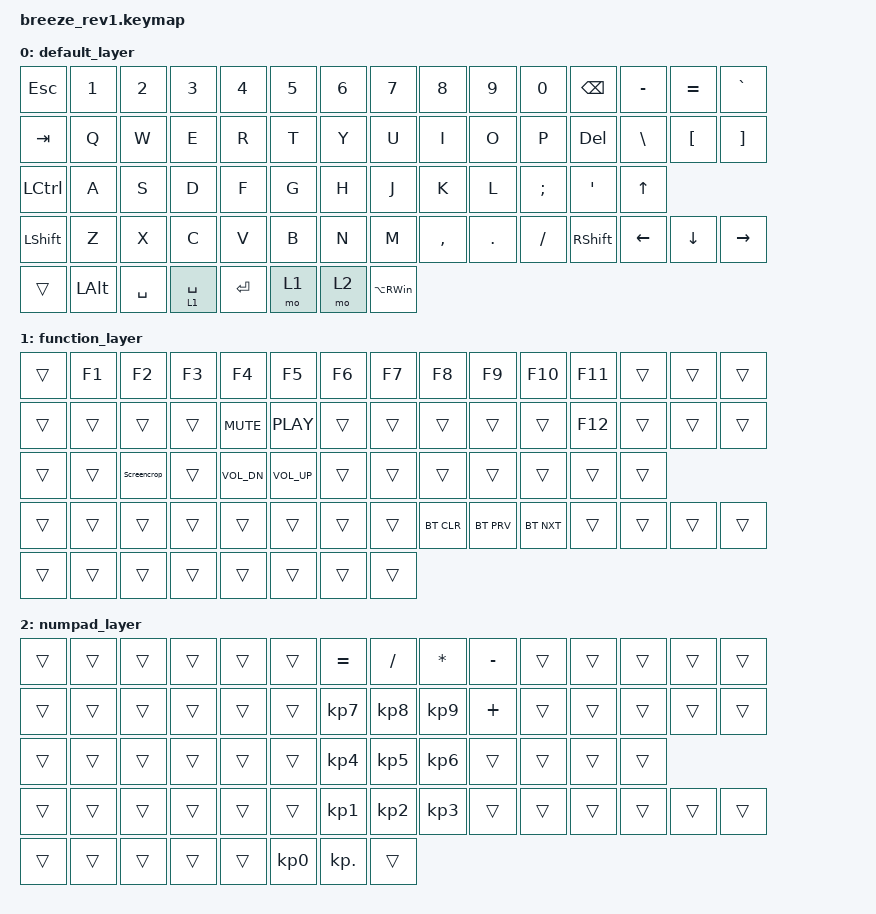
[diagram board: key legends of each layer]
/*
 * Copyright (c) 2022 The ZMK Contributors
 *
 * SPDX-License-Identifier: MIT
 */

#include <behaviors.dtsi>
#include <dt-bindings/zmk/bt.h>
#include <dt-bindings/zmk/keys.h>

/ {
    macros {
        Shadowplay: Shadowplay {
            compatible = "zmk,behavior-macro";
            #binding-cells = <0>;
            bindings = <&kp LEFT_ALT &kp F10>;
            label = "SHADOWPLAY";
        };

        Screencrop: Screencrop {
            compatible = "zmk,behavior-macro";
            #binding-cells = <0>;
            bindings = <&kp LEFT_GUI &kp LEFT_SHIFT &kp S>;
            label = "SCREENCROP";
        };
    };

    keymap {
        compatible = "zmk,keymap";

        default_layer {
            // Ref: https://zmkfirmware.dev/docs/codes/
            // ---  MAIN  -----------------------------------------------------------------------------------------------------------------------
            // |    ESC    |     1     |     2     |     3      |      4      |      5     |                           |      6      |      7     |      8      |      9     |     0    |    BSPC    | |    -/_    |     =/+     |    GRAVE    |
            // |    TAB    |     Q     |     W     |     E      |      R      |      T     |                           |      Y      |      U     |      I      |      O     |     P    |    DEL     | |     \     |      [      |      ]      |
            // |   LCTRL   |     A     |     S     |     D      |      F      |      G     |                           |      H      |      J     |      K      |      L     |     ;    |     '      | |           |      UP     |             |
            // |   SHIFT   |     Z     |     X     |     C      |      V      |      B     |                           |      N      |      M     |      ,      |      .     |     /    |   RSHIFT   | |     L     |      DN     |      R      |
            //                                     |   NUMPAD   |     LALT    |    LCMD    |   SPACE    |  |   ENTER   |   FUNCTION  |  MACOS APP |  MACOS LANG |

            bindings = <
&kp ESC    &kp N1    &kp N2     &kp N3       &kp N4   &kp N5  &kp N6  &kp N7             &kp N8     &kp N9   &kp N0    &kp BSPC    &kp MINUS  &kp EQUAL  &kp GRAVE
&kp TAB    &kp Q     &kp W      &kp E        &kp R    &kp T   &kp Y   &kp U              &kp I      &kp O    &kp P     &kp DEL     &kp BSLH   &kp LBKT   &kp RBKT
&kp LCTRL  &kp A     &kp S      &kp D        &kp F    &kp G   &kp H   &kp J              &kp K      &kp L    &kp SEMI  &kp APOS    &kp UP
&kp LSHFT  &kp Z     &kp X      &kp C        &kp V    &kp B   &kp N   &kp M              &kp COMMA  &kp DOT  &kp FSLH  &kp RSHIFT  &kp LEFT   &kp DOWN   &kp RIGHT
&trans     &kp LALT  &kp SPACE  &lt 1 SPACE  &kp RET  &mo 1   &mo 2   &kp LA(RIGHT_WIN)
            >;
        };

        function_layer {
            // ---  FUNCTION  -------------------------------------------------------------------------------------------------------------------
            // | BT Clear  |  BT Prev  |  BT Next  |            |             |            |                           |             |            |             |            |          |            | |           |             |             |
            // |           |           |           |            |             |            |                           |             |            |     UP      |            |          |            | |           |             |             |
            // |           |           |           |            |             |            |                           |             |    LEFT    |    DOWN     |   RIGHT    |          |            | |           |             |             |
            // |           |           |           |            |             |            |                           |             |    MUTE    |  VOL DOWN   |   VOL UP   |          |            | |           |             |             |
            //                                     |            |             |            |            |  |           |             |            |             |

            bindings = <
&trans  &kp F1  &kp F2       &kp F3  &kp F4        &kp F5        &kp F6  &kp F7  &kp F8      &kp F9      &kp F10     &kp F11  &trans  &trans  &trans
&trans  &trans  &trans       &trans  &kp C_MUTE    &kp C_PLAY    &trans  &trans  &trans      &trans      &trans      &kp F12  &trans  &trans  &trans
&trans  &trans  &Screencrop  &trans  &kp C_VOL_DN  &kp C_VOL_UP  &trans  &trans  &trans      &trans      &trans      &trans   &trans
&trans  &trans  &trans       &trans  &trans        &trans        &trans  &trans  &bt BT_CLR  &bt BT_PRV  &bt BT_NXT  &trans   &trans  &trans  &trans
&trans  &trans  &trans       &trans  &trans        &trans        &trans  &trans
            >;
        };

        numpad_layer {
            // ---  NUMPAD  -------------------------------------------------------------------------------------------------------------------
            // |           |           |           |            |             |            |                           |       =       |      /       |      *       |      -     |          |            | |           |             |             |
            // |           |           |           |            |             |            |                           |       7       |      8       |      9       |      +     |          |            | |           |             |             |
            // |           |           |           |            |             |            |                           |       4       |      5       |      6       |            |          |            | |           |             |             |
            // |           |           |           |            |             |            |                           |       1       |      2       |      3       |            |          |            | |           |             |             |
            //                                     |            |             |            |            |  |           |       0       |      .       |              |

            bindings = <
&trans  &trans  &trans  &trans  &trans  &trans           &kp EQUAL        &kp SLASH        &kp STAR         &kp MINUS  &trans  &trans  &trans  &trans  &trans
&trans  &trans  &trans  &trans  &trans  &trans           &kp KP_NUMBER_7  &kp KP_NUMBER_8  &kp KP_NUMBER_9  &kp PLUS   &trans  &trans  &trans  &trans  &trans
&trans  &trans  &trans  &trans  &trans  &trans           &kp KP_NUMBER_4  &kp KP_NUMBER_5  &kp KP_NUMBER_6  &trans     &trans  &trans  &trans
&trans  &trans  &trans  &trans  &trans  &trans           &kp KP_NUMBER_1  &kp KP_NUMBER_2  &kp KP_NUMBER_3  &trans     &trans  &trans  &trans  &trans  &trans
&trans  &trans  &trans  &trans  &trans  &kp KP_NUMBER_0  &kp KP_DOT       &trans
            >;
        };
    };
};
